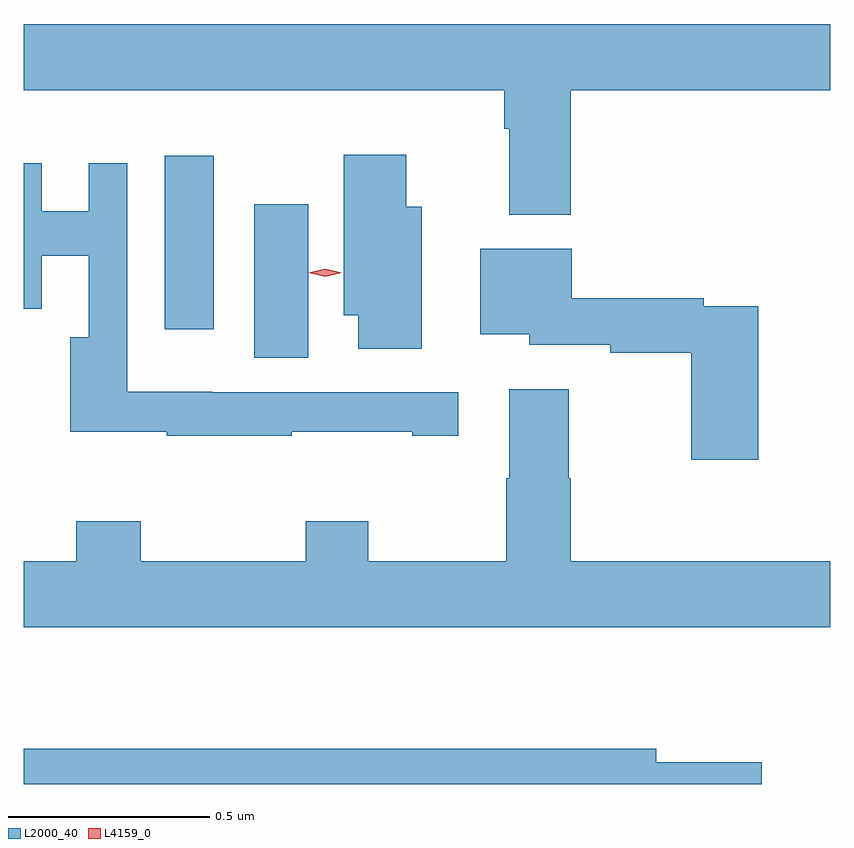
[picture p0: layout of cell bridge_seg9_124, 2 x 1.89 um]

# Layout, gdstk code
import gdstk
lib = gdstk.Library(unit=1e-6, precision=1e-09)
def R(c, l, rs):  # rectangles x0, y0, x1, y1
    for r in rs: c.add(gdstk.rectangle(r[:2], r[2:], *l))
def P(c, l, *ps):  # polygons
    for p in ps: c.add(gdstk.Polygon(p, *l))
L2000_40 = (2000, 40)
L4159_0 = (4159, 0)

bridge_seg9_124 = lib.new_cell('bridge_seg9_124')
R(bridge_seg9_124, L2000_40, [(495.032,1231.72,495.166,1232.101), (494.81,1231.791,494.932,1232.221)])
P(bridge_seg9_124, L2000_40, [(495.818,1232.384),(496.461,1232.384),(496.461,1232.548),(494.461,1232.548),(494.461,1232.384),(495.653,1232.384),(495.653,1232.288),(495.665,1232.288),(495.665,1232.075),(495.818,1232.075)],
  [(495.448,1232.095),(495.409,1232.095),(495.409,1232.224),(495.254,1232.224),(495.254,1231.826),(495.29,1231.826),(495.29,1231.743),(495.448,1231.743)],
  [(495.125,1231.537),(495.425,1231.537),(495.425,1231.527),(495.538,1231.527),(495.538,1231.635),(494.928,1231.635),(494.928,1231.636),(494.718,1231.636),(494.718,1232.203),(494.622,1232.203),(494.622,1232.083),(494.506,1232.083),(494.506,1232.203),(494.461,1232.203),(494.461,1231.842),(494.506,1231.842),(494.506,1231.973),(494.622,1231.973),(494.622,1231.771),(494.576,1231.771),(494.576,1231.537),(494.815,1231.537),(494.815,1231.527),(495.125,1231.527)],
  [(496.282,1231.848),(496.148,1231.848),(496.148,1231.868),(495.82,1231.868),(495.82,1231.99),(495.593,1231.99),(495.593,1231.778),(495.714,1231.778),(495.714,1231.752),(495.916,1231.752),(495.916,1231.732),(496.117,1231.732),(496.117,1231.467),(496.282,1231.467)],
  [(496.461,1231.216),(495.818,1231.216),(495.818,1231.421),(495.813,1231.421),(495.813,1231.642),(495.665,1231.642),(495.665,1231.421),(495.658,1231.421),(495.658,1231.216),(495.315,1231.216),(495.315,1231.315),(495.16,1231.315),(495.16,1231.216),(494.751,1231.216),(494.751,1231.315),(494.591,1231.315),(494.591,1231.216),(494.461,1231.216),(494.461,1231.052),(496.461,1231.052)],
  [(496.291,1230.717),(496.03,1230.717),(496.03,1230.751),(494.461,1230.751),(494.461,1230.663),(496.291,1230.663)])
P(bridge_seg9_124, L4159_0, [(495.209,1231.921),(495.168,1231.931),(495.167,1231.931),(495.168,1231.931),(495.209,1231.941),(495.25,1231.931),(495.25,1231.931),(495.25,1231.931)])

lib.write_gds('bridge_seg9_124.gds')
